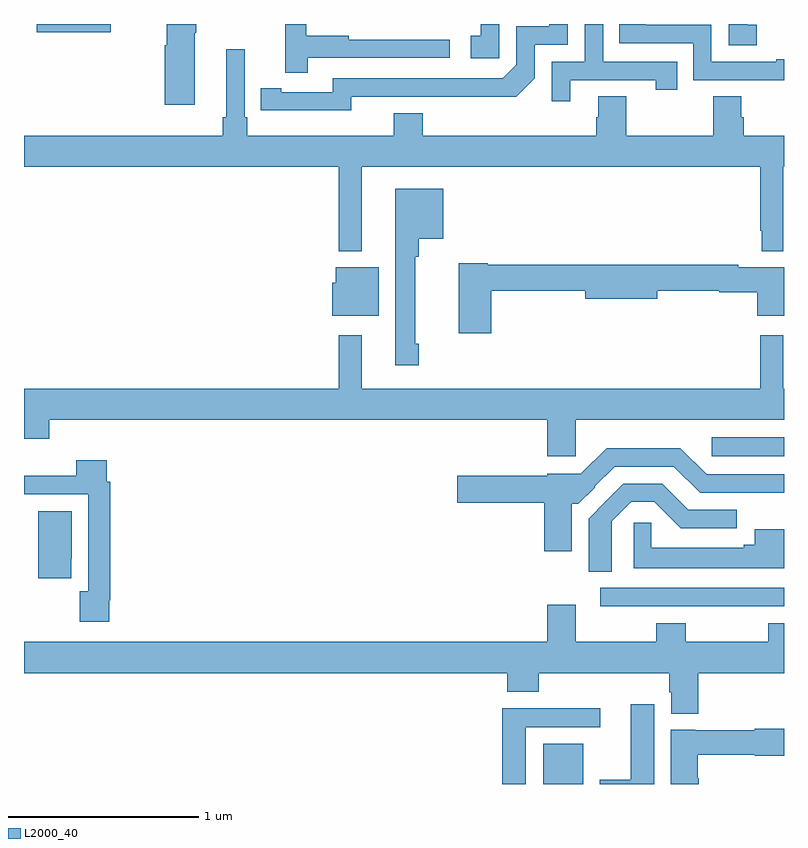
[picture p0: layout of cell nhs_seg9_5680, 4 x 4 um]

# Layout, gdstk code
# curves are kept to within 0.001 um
import gdstk
lib = gdstk.Library(unit=1e-6, precision=1e-09)
def R(c, l, rs):  # rectangles x0, y0, x1, y1
    for r in rs: c.add(gdstk.rectangle(r[:2], r[2:], *l))
def P(c, l, *ps):  # polygons
    for p in ps: c.add(gdstk.Polygon(p, *l))
L2000_40 = (2000, 40)

nhs_seg9_5680 = lib.new_cell('nhs_seg9_5680')
R(nhs_seg9_5680, L2000_40, [(443.732,1198.5,443.944,1198.711), (441.068,1202.456,441.457,1202.5)])
P(nhs_seg9_5680, L2000_40, [(444.856,1202.497),(444.807,1202.497),(444.807,1202.5),(444.708,1202.5),(444.708,1202.388),(444.856,1202.388)],
  [(442.493,1202.322),(443.242,1202.322),(443.242,1202.418),(442.709,1202.418),(442.709,1202.438),(442.486,1202.438),(442.486,1202.5),(442.376,1202.5),(442.376,1202.244),(442.493,1202.244)],
  [(445,1202.314),(444.959,1202.314),(444.959,1202.301),(444.618,1202.301),(444.618,1202.496),(444.273,1202.496),(444.273,1202.5),(444.133,1202.5),(444.133,1202.4),(444.522,1202.4),(444.522,1202.205),(445,1202.205)],
  [(441.898,1202.455),(441.906,1202.455),(441.906,1202.5),(441.752,1202.5),(441.752,1202.388),(441.74,1202.388),(441.74,1202.076),(441.898,1202.076)],
  [(443.502,1202.5),(443.405,1202.5),(443.405,1202.439),(443.352,1202.439),(443.352,1202.319),(443.502,1202.319)],
  [(443.875,1202.205),(444.326,1202.205),(444.326,1202.154),(444.437,1202.154),(444.437,1202.301),(444.048,1202.301),(444.048,1202.5),(443.952,1202.5),(443.952,1202.301),(443.778,1202.301),(443.778,1202.094),(443.875,1202.094)],
  [(442.722,1202.118),(443.59,1202.117),(443.688,1202.214),(443.688,1202.391),(443.862,1202.391),(443.862,1202.5),(443.765,1202.5),(443.765,1202.487),(443.592,1202.487),(443.592,1202.286),(443.52,1202.214),(442.626,1202.214),(442.626,1202.142),(442.354,1202.142),(442.354,1202.162),(442.246,1202.162),(442.246,1202.046),(442.722,1202.045)],
  [(444.876,1201.411),(444.883,1201.411),(444.883,1201.304),(444.997,1201.304),(444.997,1201.748),(445,1201.748),(445,1201.912),(444.788,1201.912),(444.788,1202.01),(444.775,1202.01),(444.775,1202.12),(444.628,1202.12),(444.628,1201.912),(444.171,1201.912),(444.171,1202.12),(444.023,1202.12),(444.023,1202.01),(444.011,1202.01),(444.011,1201.912),(443.099,1201.912),(443.099,1202.029),(442.946,1202.029),(442.946,1201.912),(442.175,1201.912),(442.175,1202.008),(442.161,1202.008),(442.161,1202.368),(442.064,1202.368),(442.064,1202.008),(442.045,1202.008),(442.045,1201.912),(441,1201.912),(441,1201.748),(442.656,1201.748),(442.656,1201.304),(442.777,1201.304),(442.777,1201.748),(444.876,1201.748)],
  [(443.077,1200.817),(443.059,1200.817),(443.059,1201.274),(443.077,1201.274),(443.077,1201.37),(443.206,1201.37),(443.206,1201.633),(442.955,1201.633),(442.955,1200.705),(443.077,1200.705)],
  [(443.459,1201.096),(443.954,1201.096),(443.954,1201.054),(444.334,1201.054),(444.334,1201.096),(444.66,1201.096),(444.66,1201.088),(444.86,1201.088),(444.86,1200.965),(445,1200.965),(445,1201.219),(444.76,1201.219),(444.76,1201.232),(443.442,1201.232),(443.442,1201.24),(443.288,1201.24),(443.288,1200.873),(443.459,1200.873)],
  [(442.867,1201.219),(442.64,1201.219),(442.64,1201.137),(442.622,1201.137),(442.622,1200.965),(442.867,1200.965)],
  [(443.903,1200.416),(445,1200.416),(445,1200.58),(444.997,1200.58),(444.997,1200.862),(444.876,1200.862),(444.876,1200.58),(442.777,1200.58),(442.777,1200.862),(442.656,1200.862),(442.656,1200.58),(441,1200.58),(441,1200.317),(441.134,1200.317),(441.134,1200.416),(443.753,1200.416),(443.753,1200.225),(443.903,1200.225)],
  [(445,1200.325),(444.621,1200.325),(444.621,1200.225),(444.733,1200.225),(444.733,1200.224),(445,1200.224)],
  [(443.884,1199.976),(443.918,1199.976),(444.006,1200.063),(444.003,1200.066),(444.108,1200.171),(444.42,1200.171),(444.558,1200.033),(445,1200.032),(445,1200.129),(444.594,1200.129),(444.455,1200.268),(444.067,1200.268),(443.931,1200.132),(443.754,1200.132),(443.754,1200.123),(443.28,1200.123),(443.28,1199.981),(443.738,1199.981),(443.738,1199.724),(443.884,1199.724)],
  [(441.448,1199.467),(441.455,1199.467),(441.455,1200.092),(441.436,1200.092),(441.436,1200.205),(441.275,1200.205),(441.275,1200.122),(441,1200.122),(441,1200.024),(441.339,1200.024),(441.339,1199.515),(441.293,1199.515),(441.293,1199.355),(441.448,1199.355)],
  [(444.094,1199.884),(444.195,1199.985),(444.318,1199.985),(444.456,1199.847),(444.751,1199.847),(444.751,1199.943),(444.496,1199.943),(444.358,1200.081),(444.155,1200.081),(443.972,1199.897),(443.972,1199.617),(444.094,1199.617)],
  [(441.249,1199.686),(441.25,1199.686),(441.25,1199.935),(441.074,1199.935),(441.074,1199.583),(441.249,1199.583)],
  [(445,1199.842),(444.845,1199.842),(444.845,1199.758),(444.789,1199.758),(444.789,1199.743),(444.302,1199.743),(444.302,1199.875),(444.208,1199.875),(444.208,1199.636),(445,1199.636)],
  [(444.827,1199.436),(445,1199.436),(445,1199.532),(444.033,1199.532),(444.033,1199.436),(444.571,1199.436),(444.571,1199.435),(444.827,1199.435)],
  [(444.548,1199.084),(445,1199.084),(445,1199.347),(444.916,1199.347),(444.916,1199.248),(444.483,1199.248),(444.483,1199.347),(444.328,1199.347),(444.328,1199.248),(443.905,1199.248),(443.905,1199.443),(443.753,1199.443),(443.753,1199.248),(441,1199.248),(441,1199.084),(443.543,1199.084),(443.543,1198.985),(443.708,1198.985),(443.708,1199.084),(444.395,1199.084),(444.395,1198.983),(444.407,1198.983),(444.407,1198.871),(444.548,1198.871)],
  [(444.316,1198.921),(444.194,1198.921),(444.194,1198.522),(444.029,1198.522),(444.029,1198.5),(444.316,1198.5)],
  [(443.641,1198.8),(444.034,1198.8),(444.034,1198.898),(443.516,1198.898),(443.516,1198.5),(443.641,1198.5)],
  [(444.551,1198.529),(444.546,1198.529),(444.546,1198.654),(444.846,1198.654),(444.846,1198.649),(445,1198.649),(445,1198.791),(444.846,1198.791),(444.846,1198.783),(444.534,1198.783),(444.534,1198.786),(444.404,1198.786),(444.404,1198.5),(444.551,1198.5)])

lib.write_gds('nhs_seg9_5680.gds')
